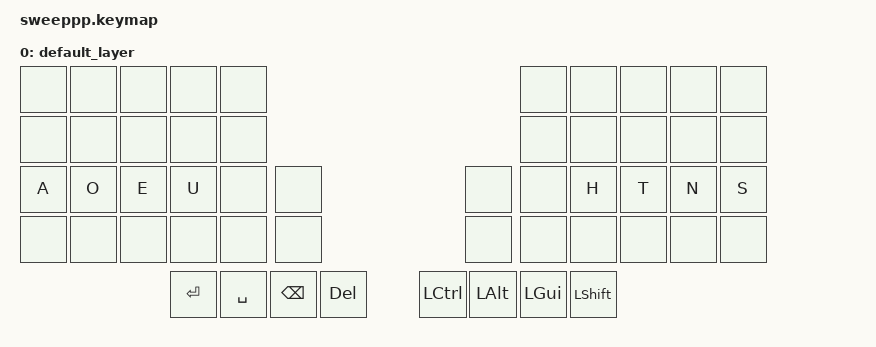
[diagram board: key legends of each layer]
#include <behaviors.dtsi>
#include <dt-bindings/zmk/keys.h>
#include <dt-bindings/zmk/bt.h>

&nice_view_spi {
    cs-gpios = <&pro_micro 2 GPIO_ACTIVE_HIGH>;
};

/ {
    combos {
        compatible = "zmk,combos";
        combo_esc {
            key-positions = <0 1>;
            bindings = <&kp ESC>;
        };
    }

    keymap {
        compatible = "zmk,keymap";

        default_layer {
            bindings = <
        //╭───────┬───────┬───────┬───────┬───────╮                   ╭───────┬───────┬───────┬───────┬───────╮
        //│       │       │       │       │       │                   │       │       │       │       │       │
            &none   &none   &none   &none   &none                       &none   &none   &none   &none   &none
        //├───────┼───────┼───────┼───────┼───────┤                   ├───────┼───────┼───────┼───────┼───────┤
        //│       │       │       │       │       │                   │       │       │       │       │       │
            &none   &none   &none   &none   &none                       &none   &none   &none   &none   &none
        //├───────┼───────┼───────┼───────┼───────┼───────╮   ╭───────┼───────┼───────┼───────┼───────┼───────┤
        //│ 20    │ 21    │ 22    │ 23    │       │                   │       │ 28    │ 29    │ 30    │ 31    │
            &kp A   &kp O   &kp E   &kp U   &none   &none       &none   &none   &kp H    &kp T   &kp N   &kp S
        //├───────┼───────┼───────┼───────┼───────┼───────┤   ├───────┼───────┼───────┼───────┼───────┼───────┤
        //│       │       │       │       │       │                   │       │       │       │       │       │
            &none   &none   &none   &none   &none   &none       &none   &none   &none   &none   &none   &none
        //╰───────┴───────┼───────┼───────┼───────┼───────┤   ├───────┼───────┼───────┼───────┼───────┴───────╯
        //   │ 44        │ 45        │ 46       │ 47      │   │ 48        │ 49       │ 50       │ 51        │
               &kp ENTER   &kp SPACE   &kp BSPC   &kp DEL       &kp LCTRL   &kp LALT   &kp LGUI   &kp LSHIFT 
        //   ╰───────────┴───────────┴──────────┴─────────╯   ╰───────────┴──────────┴──────────┴────────────╯
            >;
        };
    };
 };
